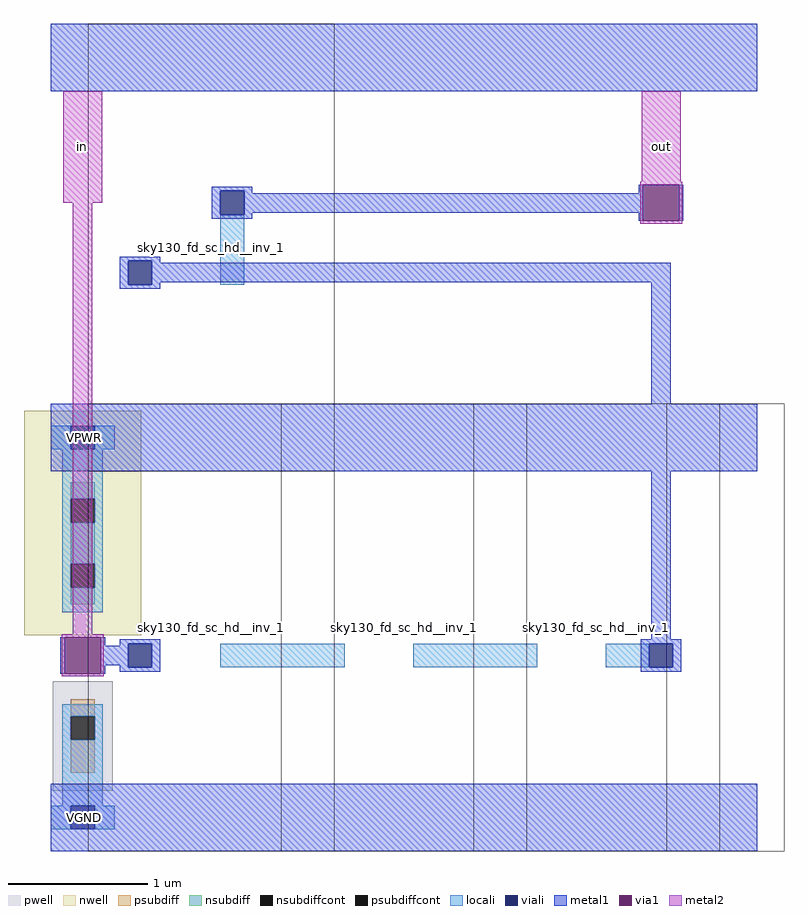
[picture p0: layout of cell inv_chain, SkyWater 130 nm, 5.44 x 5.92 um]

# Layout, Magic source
magic
tech sky130A
magscale 1 2
<< locali >>
rect 243 763 277 863
rect 243 215 421 249
rect 519 215 697 249
rect 795 215 857 249
<< viali >>
rect 243 863 277 897
rect 111 763 145 797
rect 111 215 145 249
rect 857 215 891 249
<< metal1 >>
rect 0 1040 1012 1136
rect 231 897 289 903
rect 231 863 243 897
rect 277 894 289 897
rect 842 894 848 906
rect 277 866 848 894
rect 277 863 289 866
rect 231 857 289 863
rect 842 854 848 866
rect 900 854 906 906
rect 99 797 157 803
rect 99 763 111 797
rect 145 794 157 797
rect 145 766 888 794
rect 145 763 157 766
rect 99 757 157 763
rect 860 592 888 766
rect 0 496 1012 592
rect 14 206 20 258
rect 72 246 78 258
rect 860 255 888 496
rect 99 249 157 255
rect 99 246 111 249
rect 72 218 111 246
rect 72 206 78 218
rect 99 215 111 218
rect 145 215 157 249
rect 99 209 157 215
rect 845 249 903 255
rect 845 215 857 249
rect 891 215 903 249
rect 845 209 903 215
rect 0 -48 1012 48
<< via1 >>
rect 848 854 900 906
rect 20 206 72 258
<< metal2 >>
rect 18 880 74 1040
rect 846 910 902 1040
rect 844 906 904 910
rect 32 262 60 880
rect 844 854 848 906
rect 900 854 904 906
rect 844 850 904 854
rect 16 258 76 262
rect 16 206 20 258
rect 72 206 76 258
rect 16 202 76 206
use sky130_fd_sc_hd__inv_1  _1_
transform 1 0 92 0 1 0
box -38 -48 314 592
use sky130_fd_sc_hd__inv_1  _2_
transform 1 0 368 0 1 0
box -38 -48 314 592
use sky130_fd_sc_hd__inv_1  _3_
transform 1 0 644 0 1 0
box -38 -48 314 592
use sky130_fd_sc_hd__inv_1  _4_
transform 1 0 92 0 -1 1088
box -38 -48 314 592
use sky130_fd_sc_hd__fill_1  FILL_0
transform 1 0 920 0 1 0
box -38 -48 130 592
use sky130_fd_sc_hd__tapvpwrvgnd_1  TAP_0
transform 1 0 0 0 1 0
box -38 -48 130 592
<< labels >>
flabel metal2 s 18 880 74 1040 0 FreeSans 224 90 0 0 in
port 0 nsew signal input
flabel metal2 s 846 880 902 1040 0 FreeSans 224 90 0 0 out
port 1 nsew signal output
flabel metal1 s 0 496 96 592 0 FreeSans 448 0 0 0 VPWR
port 2 nsew power bidirectional
flabel metal1 s 0 -48 96 48 0 FreeSans 448 0 0 0 VGND
port 3 nsew ground bidirectional
<< properties >>
string FIXED_BBOX 0 0 1012 1088
<< end >>

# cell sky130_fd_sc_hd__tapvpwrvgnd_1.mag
magic
tech sky130A
magscale 1 2
<< nwell >>
rect -38 261 130 582
<< pwell >>
rect 3 38 89 195
<< psubdiff >>
rect 29 145 63 169
rect 29 64 63 111
<< nsubdiff >>
rect 29 456 63 480
rect 29 363 63 422
rect 29 305 63 329
<< psubdiffcont >>
rect 29 111 63 145
<< nsubdiffcont >>
rect 29 422 63 456
rect 29 329 63 363
<< locali >>
rect 0 527 29 561
rect 63 527 92 561
rect 17 456 75 527
rect 17 422 29 456
rect 63 422 75 456
rect 17 363 75 422
rect 17 329 29 363
rect 63 329 75 363
rect 17 294 75 329
rect 17 145 75 162
rect 17 111 29 145
rect 63 111 75 145
rect 17 17 75 111
rect 0 -17 29 17
rect 63 -17 92 17
<< viali >>
rect 29 527 63 561
rect 29 -17 63 17
<< metal1 >>
rect 0 561 92 592
rect 0 527 29 561
rect 63 527 92 561
rect 0 496 92 527
rect 0 17 92 48
rect 0 -17 29 17
rect 63 -17 92 17
rect 0 -48 92 -17
<< labels >>
flabel metal1 s 22 524 75 553 0 FreeSans 200 0 0 0 VPWR
port 2 nsew power bidirectional abutment
flabel metal1 s 21 -18 72 20 0 FreeSans 200 0 0 0 VGND
port 1 nsew ground bidirectional abutment
rlabel comment s 0 0 0 0 4 tapvpwrvgnd_1
rlabel metal1 s 0 -48 92 48 1 VGND
port 1 nsew ground bidirectional abutment
rlabel metal1 s 0 496 92 592 1 VPWR
port 2 nsew power bidirectional abutment
<< properties >>
string FIXED_BBOX 0 0 92 544
string GDS_END 507276
string GDS_FILE $PDKPATH/libs.ref/sky130_fd_sc_hd/gds/sky130_fd_sc_hd.gds
string GDS_START 505656
string LEFclass CORE WELLTAP
string LEFsite unithd
string LEFsymmetry X Y R90
string MASKHINTS_HVTP 0 250 92 544
string MASKHINTS_NSDM 0 279 92 506
string MASKHINTS_PSDM 0 38 92 195
string MASKHINTS_STDCELL 0 0 92 544
<< end >>
